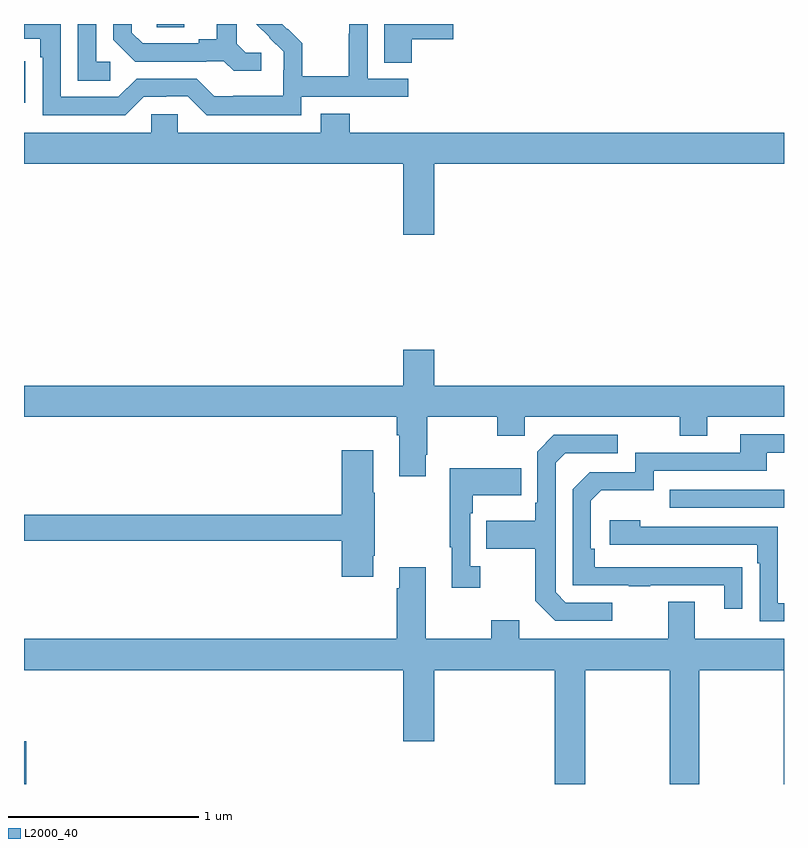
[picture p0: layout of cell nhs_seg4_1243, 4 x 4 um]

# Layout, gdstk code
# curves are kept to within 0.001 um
import gdstk
lib = gdstk.Library(unit=1e-6, precision=1e-09)
def R(c, l, rs):  # rectangles x0, y0, x1, y1
    for r in rs: c.add(gdstk.rectangle(r[:2], r[2:], *l))
def P(c, l, *ps):  # polygons
    for p in ps: c.add(gdstk.Polygon(p, *l))
L2000_40 = (2000, 40)

nhs_seg4_1243 = lib.new_cell('nhs_seg4_1243')
R(nhs_seg4_1243, L2000_40, [(175,782.9,175.013,783.124), (178.399,784.353,179,784.449), (175,786.486,175.007,786.704), (175.698,786.883,175.843,786.9)])
P(nhs_seg4_1243, L2000_40, [(176.46,786.516),(177.022,786.516),(177.022,786.612),(176.808,786.612),(176.808,786.9),(176.712,786.9),(176.712,786.848),(176.71,786.848),(176.71,786.625),(176.465,786.625),(176.465,786.799),(176.388,786.876),(176.385,786.873),(176.358,786.9),(176.222,786.9),(176.366,786.754),(176.366,786.657),(176.364,786.657),(176.364,786.523),(176.101,786.523),(176.101,786.519),(176.001,786.519),(175.908,786.612),(175.593,786.612),(175.497,786.516),(175.194,786.516),(175.194,786.9),(175,786.9),(175,786.822),(175.085,786.822),(175.085,786.725),(175.098,786.725),(175.098,786.42),(175.533,786.42),(175.629,786.516),(175.748,786.516),(175.748,786.519),(175.863,786.519),(175.963,786.419),(176.46,786.419)],
  [(175.453,786.702),(175.38,786.702),(175.38,786.9),(175.284,786.9),(175.284,786.601),(175.453,786.601)],
  [(177.041,786.821),(177.259,786.821),(177.259,786.9),(176.897,786.9),(176.897,786.697),(177.041,786.697)],
  [(176.248,786.75),(176.166,786.75),(176.119,786.797),(176.119,786.9),(176.015,786.9),(176.015,786.821),(175.919,786.821),(175.919,786.798),(175.624,786.798),(175.567,786.855),(175.567,786.9),(175.47,786.9),(175.47,786.818),(175.586,786.702),(175.958,786.702),(175.958,786.705),(176.052,786.705),(176.104,786.653),(176.248,786.653)],
  [(177.16,786.164),(179,786.164),(179,786.328),(176.714,786.328),(176.714,786.427),(176.561,786.427),(176.561,786.328),(175.809,786.328),(175.809,786.426),(175.671,786.426),(175.671,786.328),(175,786.328),(175,786.164),(176.996,786.164),(176.996,785.79),(177.16,785.79)],
  [(177.115,784.633),(177.123,784.633),(177.123,784.832),(177.49,784.832),(177.49,784.733),(177.636,784.733),(177.636,784.832),(178.45,784.832),(178.45,784.733),(178.597,784.733),(178.597,784.832),(179,784.832),(179,784.996),(177.16,784.996),(177.16,785.185),(176.996,785.185),(176.996,784.996),(175,784.996),(175,784.832),(176.963,784.832),(176.963,784.736),(176.975,784.736),(176.975,784.521),(177.115,784.521)],
  [(178.781,784.04),(178.004,784.041),(178.004,784.138),(177.984,784.138),(177.984,784.392),(178.037,784.445),(178.314,784.445),(178.314,784.548),(178.909,784.548),(178.909,784.644),(179,784.644),(179,784.74),(178.769,784.74),(178.769,784.644),(178.218,784.644),(178.218,784.542),(177.978,784.542),(177.888,784.452),(177.888,783.945),(178.183,783.945),(178.183,783.94),(178.295,783.94),(178.295,783.945),(178.685,783.945),(178.685,783.822),(178.781,783.822)],
  [(178.096,783.855),(177.852,783.855),(177.798,783.909),(177.798,784.59),(177.849,784.641),(178.126,784.641),(178.126,784.737),(177.789,784.737),(177.702,784.65),(177.702,784.381),(177.69,784.381),(177.69,784.285),(177.433,784.285),(177.433,784.138),(177.69,784.138),(177.69,783.865),(177.795,783.759),(178.096,783.759)],
  [(176.839,784.102),(176.847,784.102),(176.847,784.433),(176.839,784.433),(176.839,784.657),(176.672,784.657),(176.672,784.316),(175,784.316),(175,784.18),(176.672,784.18),(176.672,783.99),(176.839,783.99)],
  [(177.4,784.046),(177.348,784.046),(177.348,784.325),(177.361,784.325),(177.361,784.421),(177.617,784.421),(177.617,784.561),(177.24,784.561),(177.24,784.145),(177.251,784.145),(177.251,783.933),(177.4,783.933)],
  [(179,783.852),(178.968,783.852),(178.968,784.254),(178.244,784.254),(178.244,784.288),(178.083,784.288),(178.083,784.158),(178.859,784.158),(178.859,784.061),(178.872,784.061),(178.872,783.756),(179,783.756)],
  [(178.531,783.859),(178.391,783.859),(178.391,783.664),(177.607,783.664),(177.607,783.763),(177.46,783.763),(177.46,783.664),(177.115,783.664),(177.115,784.042),(176.975,784.042),(176.975,783.929),(176.963,783.929),(176.963,783.664),(175,783.664),(175,783.5),(176.996,783.5),(176.996,783.126),(177.16,783.126),(177.16,783.5),(177.794,783.5),(177.794,782.9),(177.954,782.9),(177.954,783.5),(178.399,783.5),(178.399,782.9),(178.554,782.9),(178.554,783.5),(178.999,783.5),(178.999,782.9),(179,782.9),(179,783.664),(178.531,783.664)])

lib.write_gds('nhs_seg4_1243.gds')
